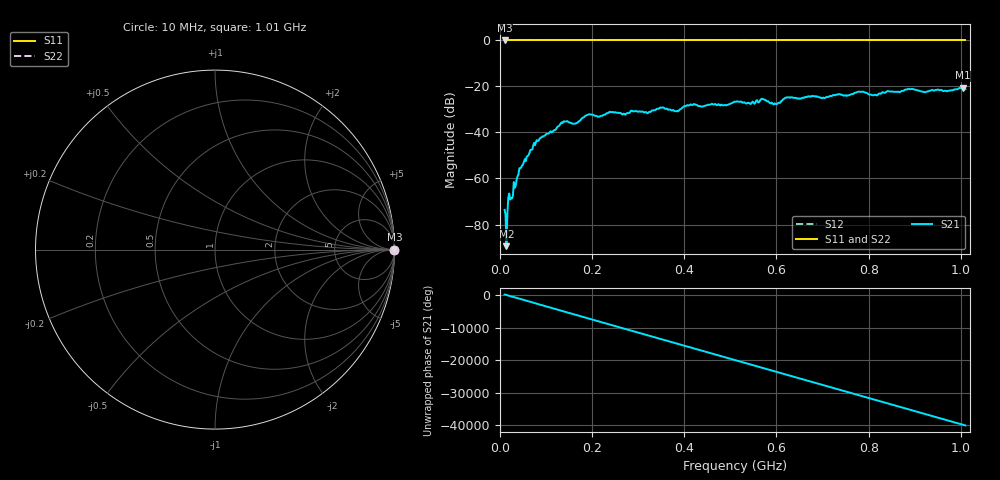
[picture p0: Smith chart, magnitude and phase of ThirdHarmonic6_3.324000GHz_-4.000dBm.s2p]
! 8/17/2025 10:25:19 AM
! C:\ANRITSUVNA\TEMP\TEMP.S2P
! CHANNEL.1
! TR.MEASUREMENT
! RAW.DATA
! RF.CORRECTION.OFF
! AVERAGING.OFF
! IF.BANDWIDTH: 5KHZ
! SWEEPTYPE:  FREQ.SWEEP(Linear)
! Reference Plane Port Info
! PORT:  PORT1  PORT2
! DISTANCE:  0  m  0  m
! TIME:  0  s  0  s
! PHASE.OFFSET:  0  deg.  0  deg.
! LOSS:  0  dB  0  dB
! REF.LOSS:  0  dB  0  dB
! REF.FREQ:  0  Hz  0  Hz
! Power Info
! POWER:  -20  dBm  -20  dBm
! EFF.POWER:  -20  dBm  -20  dBm
! SOURCE.ATTEN:  0  dB  0  dB
! TEST.ATTEN:  0  dB  0  dB
# GHZ S RI R 50.0
! FREQ.GHZ  S11RE  S11IM  S21RE  S21IM  S12RE  S12IM  S22RE  S22IM
!; PortSelection: Port_12
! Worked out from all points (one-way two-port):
!   501 points, 10 MHz to 1.01 GHz, reference 50 ohm
!   highest |S21| = -20.54 dB at 1.004 GHz (marker M1); lowest = -89.4 dB at 14 MHz (marker M2)
!   lowest |S11| = 0.0 dB at 10 MHz (marker M3)
!   |S11| at or under -10 dB: nowhere
!   |S22| runs from 0.0 to 0.0 dB; largest |S21 - S12| = 1.1
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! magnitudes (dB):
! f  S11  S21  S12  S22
! 10 MHz  0.0  -73.6  0.0  0.0
! 14 MHz  0.0  -89.4  0.0  0.0
! 42 MHz  0.0  -55.6  0.0  0.0
! 76 MHz  0.0  -45.5  0.0  0.0
! 136 MHz  0.0  -35.8  0.0  0.0
! 162 MHz  0.0  -36.2  0.0  0.0
! 178 MHz  0.0  -33.8  0.0  0.0
! 194 MHz  0.0  -32.1  0.0  0.0
! 322 MHz  0.0  -31.3  0.0  0.0
! 344 MHz  0.0  -29.7  0.0  0.0
! 384 MHz  0.0  -30.7  0.0  0.0
! 410 MHz  0.0  -28.3  0.0  0.0
! 510 MHz  0.0  -26.6  0.0  0.0
! 570 MHz  0.0  -25.4  0.0  0.0
! 598 MHz  0.0  -27.6  0.0  0.0
! 622 MHz  0.0  -24.8  0.0  0.0
! 678 MHz  0.0  -24.2  0.0  0.0
! 784 MHz  0.0  -22.3  0.0  0.0
! 814 MHz  0.0  -23.6  0.0  0.0
! 844 MHz  0.0  -22.1  0.0  0.0
! 1.004 GHz  0.0  -20.5  0.0  0.0
! 1.01 GHz  0.0  -21.2  0.0  0.0
